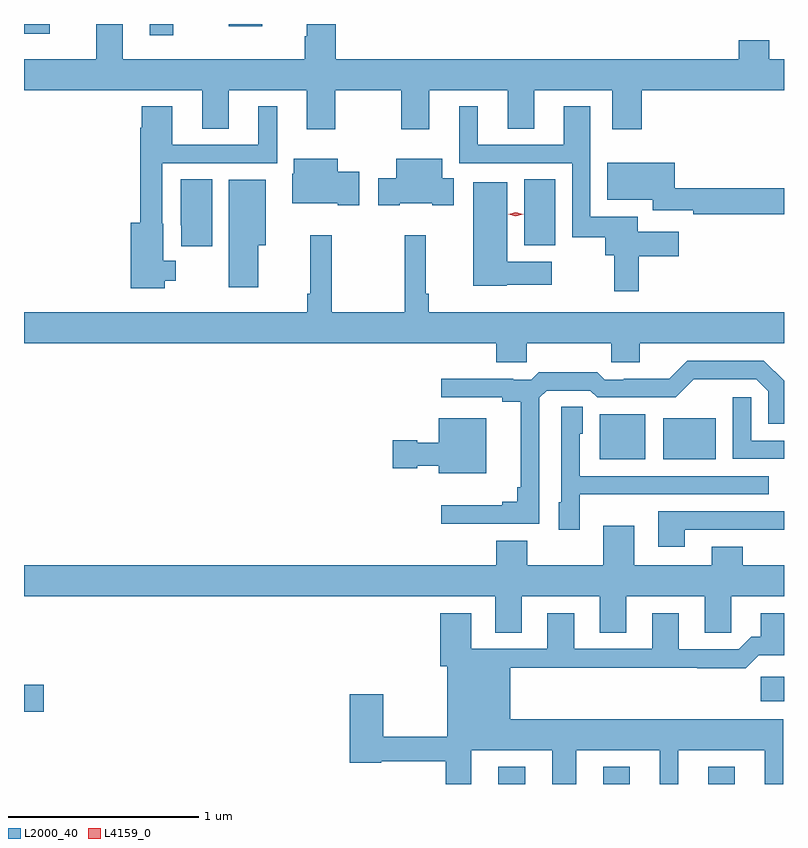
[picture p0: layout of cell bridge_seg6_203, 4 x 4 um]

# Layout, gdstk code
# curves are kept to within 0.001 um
import gdstk
lib = gdstk.Library(unit=1e-6, precision=1e-09)
def R(c, l, rs):  # rectangles x0, y0, x1, y1
    for r in rs: c.add(gdstk.rectangle(r[:2], r[2:], *l))
def A(c, l, x, y, w, h, nx, ny, dx, dy):  # array of equal rectangles
    R(c, l, [(x+i*dx, y+j*dy, x+i*dx+w, y+j*dy+h) for i in range(nx) for j in range(ny)])
def P(c, l, *ps):  # polygons
    for p in ps: c.add(gdstk.Polygon(p, *l))
L2000_40 = (2000, 40)
L4159_0 = (4159, 0)

bridge_seg6_203 = lib.new_cell('bridge_seg6_203')
A(bridge_seg6_203, L2000_40, 231.605, 938.357, 0.14, 0.092, 3, 1, 0.552, 0)
R(bridge_seg6_203, L2000_40, [(229.108,938.738,229.213,938.88), (232.986,938.792,233.108,938.921), (232.139,940.067,232.378,940.303), (232.472,940.067,232.75,940.282), (231.74,941.192,231.904,941.54), (229.77,942.297,229.893,942.357), (229.108,942.305,229.243,942.357), (230.186,942.344,230.362,942.357)])
P(bridge_seg6_203, L2000_40, [(230.745,942.008),(231.094,942.008),(231.094,941.802),(231.241,941.802),(231.241,942.008),(231.653,942.008),(231.653,941.806),(231.793,941.806),(231.793,942.008),(232.205,942.008),(232.205,941.802),(232.358,941.802),(232.358,942.008),(233.108,942.008),(233.108,942.172),(233.031,942.172),(233.031,942.271),(232.871,942.271),(232.871,942.172),(230.75,942.172),(230.75,942.357),(230.597,942.357),(230.597,942.293),(230.585,942.293),(230.585,942.172),(229.627,942.172),(229.627,942.357),(229.487,942.357),(229.487,942.172),(229.108,942.172),(229.108,942.008),(230.045,942.008),(230.045,941.806),(230.185,941.806),(230.185,942.008),(230.597,942.008),(230.597,941.802),(230.745,941.802)],
  [(232.343,941.134),(232.555,941.134),(232.555,941.263),(232.337,941.263),(232.337,941.343),(232.089,941.343),(232.089,941.923),(231.95,941.923),(231.95,941.721),(231.496,941.721),(231.496,941.923),(231.399,941.923),(231.399,941.625),(231.993,941.625),(231.993,941.235),(232.166,941.235),(232.166,941.141),(232.215,941.141),(232.215,940.95),(232.343,940.95)],
  [(229.848,941.006),(229.907,941.006),(229.907,941.111),(229.84,941.111),(229.84,941.307),(229.836,941.307),(229.836,941.625),(230.44,941.625),(230.44,941.923),(230.342,941.923),(230.342,941.721),(229.888,941.721),(229.888,941.923),(229.727,941.923),(229.727,941.81),(229.72,941.81),(229.72,941.311),(229.67,941.311),(229.67,940.967),(229.848,940.967)],
  [(230.872,941.58),(230.758,941.58),(230.758,941.647),(230.528,941.647),(230.528,941.568),(230.519,941.568),(230.519,941.414),(230.759,941.414),(230.759,941.402),(230.872,941.402)],
  [(231.085,941.414),(231.257,941.414),(231.257,941.402),(231.37,941.402),(231.37,941.544),(231.31,941.544),(231.31,941.647),(231.068,941.647),(231.068,941.544),(230.973,941.544),(230.973,941.402),(231.085,941.402)],
  [(233.108,941.492),(232.534,941.492),(232.534,941.626),(232.178,941.626),(232.178,941.432),(232.418,941.432),(232.418,941.376),(232.63,941.376),(232.63,941.356),(233.108,941.356)],
  [(230.098,941.54),(229.934,941.54),(229.934,941.299),(229.936,941.299),(229.936,941.187),(230.098,941.187)],
  [(230.341,941.192),(230.38,941.192),(230.38,941.536),(230.186,941.536),(230.186,940.971),(230.341,940.971)],
  [(231.648,940.985),(231.886,940.985),(231.886,941.107),(231.652,941.107),(231.652,941.524),(231.473,941.524),(231.473,940.979),(231.648,940.979)],
  [(231.753,940.676),(232.198,940.676),(232.198,940.578),(232.348,940.578),(232.348,940.676),(233.108,940.676),(233.108,940.84),(231.239,940.84),(231.239,940.936),(231.222,940.936),(231.222,941.245),(231.111,941.245),(231.111,940.84),(230.728,940.84),(230.728,941.245),(230.614,941.245),(230.614,940.936),(230.599,940.936),(230.599,940.84),(229.108,940.84),(229.108,940.676),(231.593,940.676),(231.593,940.578),(231.753,940.578)],
  [(231.819,940.389),(231.858,940.428),(232.089,940.428),(232.125,940.392),(232.539,940.392),(232.634,940.487),(232.962,940.488),(233.025,940.425),(233.025,940.254),(233.108,940.254),(233.108,940.479),(233.002,940.584),(232.599,940.584),(232.505,940.49),(232.264,940.49),(232.264,940.485),(232.164,940.485),(232.125,940.525),(231.817,940.525),(231.777,940.485),(231.683,940.485),(231.683,940.49),(231.303,940.49),(231.303,940.392),(231.626,940.392),(231.626,940.37),(231.722,940.37),(231.722,939.919),(231.703,939.919),(231.703,939.842),(231.626,939.842),(231.626,939.823),(231.303,939.823),(231.303,939.726),(231.819,939.726)],
  [(233.108,940.164),(232.935,940.164),(232.935,940.393),(232.839,940.393),(232.839,940.068),(233.108,940.068)],
  [(232.032,939.881),(232.349,939.881),(232.349,939.882),(233.027,939.882),(233.027,939.978),(232.032,939.978),(232.032,940.2),(232.048,940.2),(232.048,940.343),(231.936,940.343),(231.936,939.84),(231.923,939.84),(231.923,939.696),(232.032,939.696)],
  [(231.541,940.282),(231.29,940.282),(231.29,940.153),(231.177,940.153),(231.177,940.166),(231.048,940.166),(231.048,940.019),(231.177,940.019),(231.177,940.031),(231.29,940.031),(231.29,939.992),(231.541,939.992)],
  [(232.585,939.696),(233.015,939.696),(233.015,939.695),(233.108,939.695),(233.108,939.792),(232.445,939.792),(232.445,939.606),(232.585,939.606)],
  [(231.727,939.344),(232.139,939.344),(232.139,939.154),(232.279,939.154),(232.279,939.344),(232.691,939.344),(232.691,939.154),(232.83,939.154),(232.83,939.344),(233.108,939.344),(233.108,939.508),(232.891,939.508),(232.891,939.607),(232.727,939.607),(232.727,939.508),(232.321,939.508),(232.321,939.715),(232.157,939.715),(232.157,939.508),(231.757,939.508),(231.757,939.637),(231.593,939.637),(231.593,939.508),(229.108,939.508),(229.108,939.344),(231.587,939.344),(231.587,939.154),(231.727,939.154)],
  [(231.463,938.534),(231.887,938.534),(231.887,938.357),(232.015,938.357),(232.015,938.534),(232.454,938.534),(232.454,938.357),(232.552,938.357),(232.552,938.534),(233.006,938.534),(233.006,938.357),(233.104,938.357),(233.104,938.698),(231.667,938.698),(231.667,938.968),(232.651,938.968),(232.651,938.966),(232.907,938.966),(232.976,939.035),(233.108,939.035),(233.108,939.256),(232.985,939.256),(232.985,939.133),(232.936,939.133),(232.869,939.066),(232.555,939.066),(232.555,939.256),(232.415,939.256),(232.415,939.069),(232.003,939.069),(232.003,939.256),(231.863,939.256),(231.863,939.069),(231.463,939.069),(231.463,939.256),(231.299,939.256),(231.299,938.976),(231.335,938.976),(231.335,938.606),(231,938.606),(231,938.83),(230.822,938.83),(230.822,938.47),(230.988,938.47),(230.988,938.478),(231.328,938.478),(231.328,938.357),(231.463,938.357)])
P(bridge_seg6_203, L4159_0, [(231.696,941.346),(231.657,941.356),(231.656,941.356),(231.657,941.356),(231.696,941.366),(231.736,941.356),(231.736,941.356),(231.736,941.356)])

lib.write_gds('bridge_seg6_203.gds')
